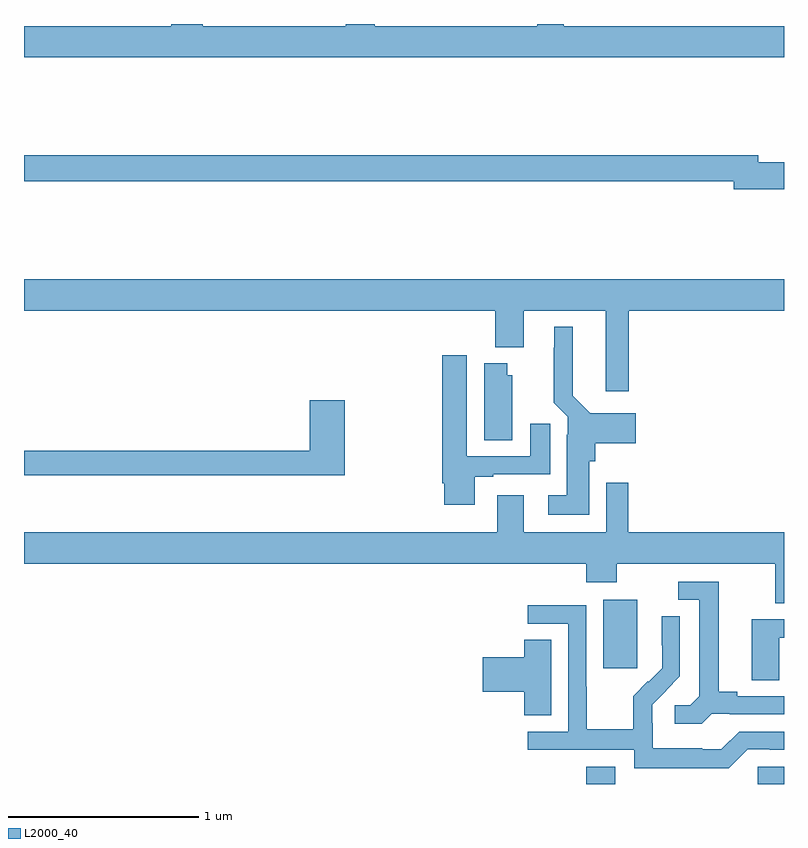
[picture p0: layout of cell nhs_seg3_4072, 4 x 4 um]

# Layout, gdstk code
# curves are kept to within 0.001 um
import gdstk
lib = gdstk.Library(unit=1e-6, precision=1e-09)
def R(c, l, rs):  # rectangles x0, y0, x1, y1
    for r in rs: c.add(gdstk.rectangle(r[:2], r[2:], *l))
def P(c, l, *ps):  # polygons
    for p in ps: c.add(gdstk.Polygon(p, *l))
L2000_40 = (2000, 40)

nhs_seg3_4072 = lib.new_cell('nhs_seg3_4072')
R(nhs_seg3_4072, L2000_40, [(327.959,722.4,328.111,722.491), (328.863,722.4,329,722.49), (328.049,723.009,328.228,723.37)])
P(nhs_seg3_4072, L2000_40, [(329,726.388),(327.84,726.388),(327.84,726.4),(327.701,726.4),(327.701,726.388),(326.845,726.388),(326.845,726.4),(326.693,726.4),(326.693,726.388),(325.94,726.388),(325.94,726.4),(325.775,726.4),(325.775,726.388),(325,726.388),(325,726.224),(329,726.224)],
  [(329,725.672),(328.864,725.672),(328.864,725.708),(325,725.708),(325,725.572),(328.736,725.572),(328.736,725.53),(329,725.53)],
  [(328.184,724.892),(329,724.892),(329,725.056),(325,725.056),(325,724.892),(327.479,724.892),(327.479,724.7),(327.631,724.7),(327.631,724.892),(328.061,724.892),(328.061,724.467),(328.184,724.467)],
  [(327.976,724.098),(328.007,724.098),(328.007,724.193),(328.219,724.193),(328.219,724.351),(327.981,724.351),(327.889,724.444),(327.889,724.807),(327.791,724.807),(327.791,724.697),(327.787,724.697),(327.787,724.406),(327.861,724.332),(327.861,724.238),(327.857,724.238),(327.857,723.919),(327.759,723.919),(327.759,723.818),(327.976,723.818)],
  [(327.373,724.017),(327.469,724.017),(327.469,724.029),(327.769,724.029),(327.769,724.297),(327.665,724.297),(327.665,724.125),(327.331,724.125),(327.331,724.657),(327.2,724.657),(327.2,723.982),(327.212,723.982),(327.212,723.87),(327.373,723.87)],
  [(327.571,724.551),(327.544,724.551),(327.544,724.615),(327.422,724.615),(327.422,724.21),(327.571,724.21)],
  [(326.687,724.42),(326.504,724.42),(326.504,724.154),(325,724.154),(325,724.026),(326.687,724.026)],
  [(329,723.724),(328.181,723.724),(328.181,723.985),(328.065,723.985),(328.065,723.724),(327.631,723.724),(327.631,723.919),(327.491,723.919),(327.491,723.724),(325,723.724),(325,723.56),(327.959,723.56),(327.959,723.461),(328.119,723.461),(328.119,723.56),(328.955,723.56),(328.955,723.352),(329,723.352)],
  [(328.62,722.769),(328.714,722.769),(328.714,722.766),(329,722.766),(329,722.862),(328.753,722.862),(328.753,722.885),(328.657,722.885),(328.657,723.465),(328.443,723.465),(328.443,723.369),(328.553,723.369),(328.553,722.861),(328.506,722.814),(328.425,722.814),(328.425,722.717),(328.568,722.717)],
  [(328.809,722.583),(328.925,722.583),(328.925,722.58),(329,722.58),(329,722.676),(328.764,722.676),(328.671,722.583),(328.571,722.583),(328.571,722.587),(328.308,722.587),(328.308,722.721),(328.306,722.721),(328.306,722.818),(328.452,722.966),(328.452,723.284),(328.356,723.284),(328.356,723.13),(328.358,723.13),(328.358,723.008),(328.287,722.937),(328.284,722.94),(328.207,722.863),(328.207,722.689),(327.963,722.689),(327.963,722.912),(327.96,722.912),(327.96,723.342),(327.651,723.342),(327.651,723.243),(327.864,723.243),(327.864,722.676),(327.651,722.676),(327.651,722.58),(328.212,722.58),(328.212,722.483),(328.709,722.483)],
  [(328.974,723.171),(329,723.171),(329,723.267),(328.829,723.267),(328.829,722.947),(328.974,722.947)],
  [(327.775,723.158),(327.632,723.158),(327.632,723.068),(327.414,723.068),(327.414,722.885),(327.632,722.885),(327.632,722.761),(327.775,722.761)])

lib.write_gds('nhs_seg3_4072.gds')
